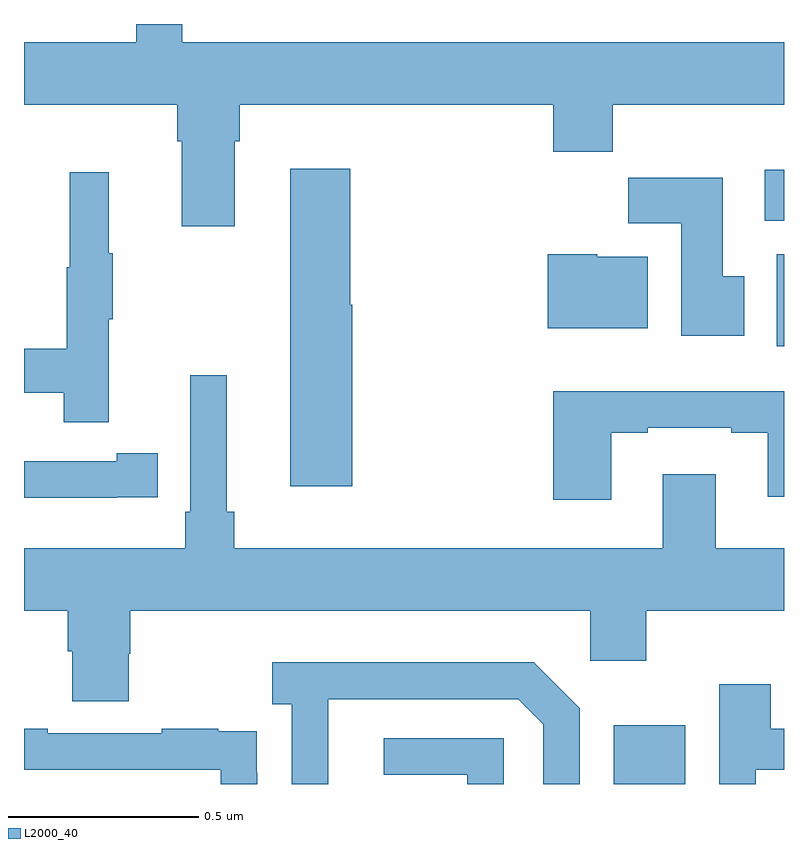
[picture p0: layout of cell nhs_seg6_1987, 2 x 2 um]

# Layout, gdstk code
import gdstk
lib = gdstk.Library(unit=1e-6, precision=1e-09)
def R(c, l, rs):  # rectangles x0, y0, x1, y1
    for r in rs: c.add(gdstk.rectangle(r[:2], r[2:], *l))
def P(c, l, *ps):  # polygons
    for p in ps: c.add(gdstk.Polygon(p, *l))
L2000_40 = (2000, 40)

nhs_seg6_1987 = lib.new_cell('nhs_seg6_1987')
R(nhs_seg6_1987, L2000_40, [(137.552,993.5,137.74,993.655), (137.981,994.652,138,994.894), (137.949,994.982,138,995.116)])
P(nhs_seg6_1987, L2000_40, [(136.555,995.192),(136.568,995.192),(136.568,995.288),(137.393,995.288),(137.393,995.164),(137.549,995.164),(137.549,995.288),(138,995.288),(138,995.452),(136.417,995.452),(136.417,995.5),(136.296,995.5),(136.296,995.452),(136,995.452),(136,995.288),(136.403,995.288),(136.403,995.192),(136.415,995.192),(136.415,994.968),(136.555,994.968)],
  [(136.864,994.761),(136.859,994.761),(136.859,995.119),(136.7,995.119),(136.7,994.284),(136.864,994.284)],
  [(136.223,994.723),(136.234,994.723),(136.234,994.897),(136.223,994.897),(136.223,995.11),(136.12,995.11),(136.12,994.86),(136.113,994.86),(136.113,994.646),(136,994.646),(136,994.53),(136.105,994.53),(136.105,994.452),(136.223,994.452)],
  [(137.896,994.836),(137.839,994.836),(137.839,995.095),(137.59,995.095),(137.59,994.976),(137.729,994.976),(137.729,994.68),(137.896,994.68)],
  [(137.641,994.888),(137.508,994.888),(137.508,994.894),(137.378,994.894),(137.378,994.7),(137.641,994.7)],
  [(137.49,993.825),(137.637,993.825),(137.637,993.956),(138,993.956),(138,994.12),(137.821,994.12),(137.821,994.315),(137.681,994.315),(137.681,994.12),(136.553,994.12),(136.553,994.216),(136.534,994.216),(136.534,994.576),(136.437,994.576),(136.437,994.216),(136.424,994.216),(136.424,994.12),(136,994.12),(136,993.956),(136.115,993.956),(136.115,993.85),(136.127,993.85),(136.127,993.718),(136.275,993.718),(136.275,993.843),(136.28,993.843),(136.28,993.956),(137.49,993.956)],
  [(137.545,994.425),(137.641,994.425),(137.641,994.437),(137.861,994.437),(137.861,994.425),(137.957,994.425),(137.957,994.256),(138,994.256),(138,994.534),(137.393,994.534),(137.393,994.248),(137.545,994.248)],
  [(136.244,994.254),(136.352,994.254),(136.352,994.37),(136.244,994.37),(136.244,994.35),(136,994.35),(136,994.253),(136.244,994.253)],
  [(136.8,993.723),(137.301,993.723),(137.367,993.657),(137.367,993.5),(137.463,993.5),(137.463,993.699),(137.342,993.82),(136.653,993.82),(136.653,993.71),(136.704,993.71),(136.704,993.5),(136.8,993.5)],
  [(137.925,993.537),(138,993.537),(138,993.646),(137.965,993.646),(137.965,993.763),(137.829,993.763),(137.829,993.5),(137.925,993.5)],
  [(136.614,993.53),(136.613,993.53),(136.613,993.639),(136.511,993.639),(136.511,993.646),(136.363,993.646),(136.363,993.633),(136.063,993.633),(136.063,993.646),(136,993.646),(136,993.537),(136.518,993.537),(136.518,993.5),(136.614,993.5)],
  [(137.262,993.621),(136.947,993.621),(136.947,993.525),(137.166,993.525),(137.166,993.5),(137.262,993.5)])

lib.write_gds('nhs_seg6_1987.gds')
